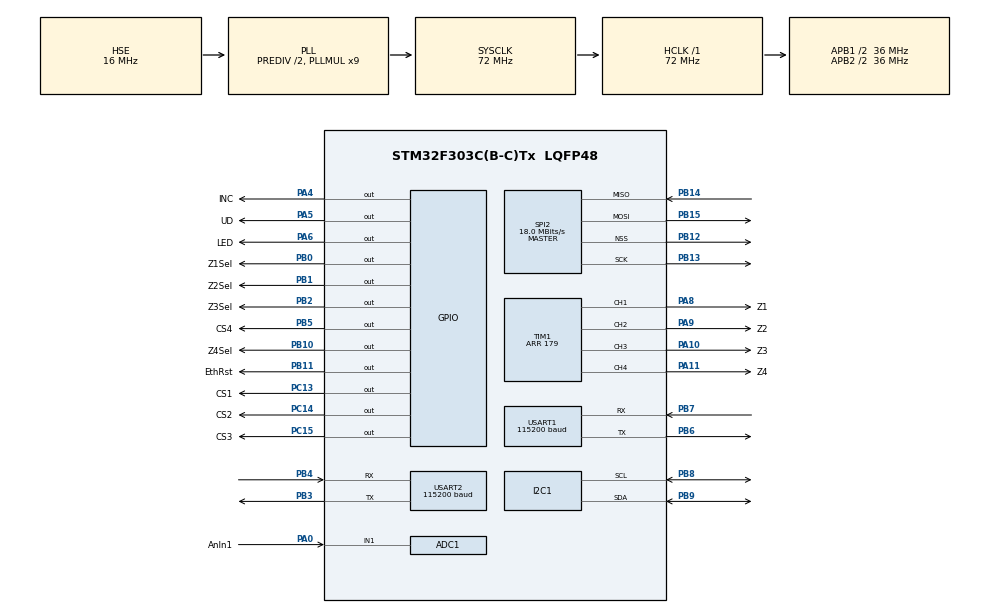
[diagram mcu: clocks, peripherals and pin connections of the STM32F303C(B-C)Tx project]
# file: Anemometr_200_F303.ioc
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Mcu.Family=STM32F3
SPI2.VirtualNSS=VM_NSSHARD
SH.S_TIM1_CH4.0=TIM1_CH4,Output Compare4 CH4
VP_TIM1_VS_OPM.Mode=OPM_bit
RCC.CortexFreq_Value=72000000
SPI2.VirtualType=VM_MASTER
ADC1.ContinuousConvMode=ENABLE
TIM1.RepetitionCounter=13
VP_TIM3_VS_OPM.Mode=OPM_bit
USART1.BaudRate=115200
RCC.SYSCLKSourceVirtual=RCC_SYSCLKSOURCE_PLLCLK
PA0.GPIO_Label=AnIn1
PB0.GPIO_Label=Z1Sel
PA6.GPIO_Label=LED
PC13.GPIO_Label=CS1
PB11.Signal=GPIO_Output
PB13.Signal=SPI2_SCK
PB15.Signal=SPI2_MOSI
PC15-OSC32_OUT.GPIO_Label=CS3
ProjectManager.StackSize=0x400
TIM1.Channel-Output\ Compare2\ CH2=TIM_CHANNEL_2
RCC.HCLKFreq_Value=72000000
ADC1.Offset-1\#ChannelRegularConversion=0
RCC.APB2TimFreq_Value=72000000
TIM3.Period=39000
PB6.Signal=USART1_TX
Dma.ADC1.0.Direction=DMA_PERIPH_TO_MEMORY
PB6.Mode=Asynchronous
Dma.ADC1.0.MemDataAlignment=DMA_MDATAALIGN_HALFWORD
RCC.AHBFreq_Value=72000000
SPI2.BaudRatePrescaler=SPI_BAUDRATEPRESCALER_2
RCC.HSE_VALUE=16000000
PB2.Signal=GPIO_Output
PB3.Mode=Asynchronous
USART2.VirtualMode-Asynchronous=VM_ASYNC
RCC.RCC_PLLsource_Clock_Source_FROM_HSE=RCC_HSE_PREDIV_DIV2
RCC.PLLMUL=RCC_PLL_MUL9
ADC1.SequencerNbRanks=0
PB4.Mode=Asynchronous
PB14.Mode=Full_Duplex_Master
PB1.GPIO_Label=Z2Sel
Dma.ADC1.0.PeriphInc=DMA_PINC_DISABLE
PA10.GPIO_Label=Z3
PA0.Mode=IN1-Single-Ended
SPI2.CalculateBaudRate=18.0 MBits/s
PB7.Signal=USART1_RX
PA8.Signal=S_TIM1_CH1
VP_TIM3_VS_ClockSourceITR.Mode=TriggerSource_ITR0
PA0.Signal=ADC1_IN1
Mcu.Package=LQFP48
PB9.Signal=I2C1_SDA
PB1.Signal=GPIO_Output
PA6.Signal=GPIO_Output
PB12.Mode=NSS_Signal_Hard_Output
SPI2.Mode=SPI_MODE_MASTER
PA10.Signal=S_TIM1_CH3
ADC1.OffsetNumber-1\#ChannelRegularConversion=ADC_OFFSET_NONE
RCC.APB2CLKDivider=RCC_HCLK_DIV2
PB5.GPIO_Label=CS4
RCC.APB1TimFreq_Value=72000000
PC14-OSC32_IN.GPIO_Label=CS2
SPI2.Direction=SPI_DIRECTION_2LINES
TIM1.Period=179
PB13.Mode=Full_Duplex_Master
PF1-OSC_OUT.Mode=HSE-External-Oscillator
Dma.Request0=ADC1
PA4.GPIO_Label=INC
ADC1.EOCSelection=ADC_EOC_SINGLE_CONV
VP_TIM3_VS_ClockSourceINT.Mode=Internal
PF1-OSC_OUT.Signal=RCC_OSC_OUT
TIM1.Channel-Output\ Compare3\ CH3=TIM_CHANNEL_3
PB4.Signal=USART2_RX
RCC.PLLSourceVirtual=RCC_PLLSOURCE_HSE
Dma.ADC1.0.Instance=DMA1_Channel1
TIM3.Channel-Output\ Compare1\ No\ Output=TIM_CHANNEL_1
TIM3.AutoReloadPreload=TIM_AUTORELOAD_PRELOAD_ENABLE
TIM1.OCMode_4=TIM_OCMODE_TOGGLE
TIM1.OCMode_3=TIM_OCMODE_TOGGLE
VP_TIM3_VS_ControllerModeTrigger.Mode=Trigger Mode
PC13.Signal=GPIO_Output
PA9.GPIO_Label=Z2
TIM1.OCMode_2=TIM_OCMODE_TOGGLE
TIM1.OCMode_1=TIM_OCMODE_TOGGLE
PB11.GPIO_Label=EthRst
PA11.GPIO_Label=Z4
RCC.APB1CLKDivider=RCC_HCLK_DIV2
PC14-OSC32_IN.Signal=GPIO_Output
USART2.BaudRate=115200
USART1.VirtualMode-Asynchronous=VM_ASYNC
Dma.ADC1.0.PeriphDataAlignment=DMA_PDATAALIGN_HALFWORD
PA8.GPIO_Label=Z1
SH.S_TIM1_CH1.0=TIM1_CH1,Output Compare1 CH1
ProjectManager.TargetToolchain=STM32CubeIDE
PB10.GPIO_Label=Z4Sel
Dma.ADC1.0.Mode=DMA_NORMAL
PB9.Mode=I2C
Dma.ADC1.0.Priority=DMA_PRIORITY_HIGH
PA9.Signal=S_TIM1_CH2
ADC1.Channel-1\#ChannelRegularConversion=ADC_CHANNEL_1
RCC.USBFreq_Value=72000000
TIM1.Channel-Output\ Compare4\ CH4=TIM_CHANNEL_4
TIM4.Prescaler=6
RCC.LSE_VALUE=32768
PC15-OSC32_OUT.Signal=GPIO_Output
PF0-OSC_IN.Mode=HSE-External-Oscillator
PB10.Signal=GPIO_Output
TIM3.OC1Preload=ENABLE
PB14.Signal=SPI2_MISO
PA5.Signal=GPIO_Output
board=custom
VP_TIM3_VS_no_output1.Mode=Output Compare1 No Output
PB15.Mode=Full_Duplex_Master
NVIC.TIM3_IRQn=true\:0\:0\:false\:false\:true\:true\:true
TIM1.TIM_MasterOutputTrigger=TIM_TRGO_UPDATE
RCC.APB2Freq_Value=36000000
TIM3.OCMode_1=TIM_OCMODE_ACTIVE
SH.S_TIM1_CH2.0=TIM1_CH2,Output Compare2 CH2
ADC1.DMAContinuousRequests=ENABLE
ADC1.NbrOfConversion=1
Mcu.Name=STM32F303C(B-C)Tx
ADC1.ExternalTrigConv=ADC_EXTERNALTRIGCONV_T3_TRGO
PB3.Signal=USART2_TX
PA4.Signal=GPIO_Output
ADC1.SamplingTime-1\#ChannelRegularConversion=ADC_SAMPLETIME_19CYCLES_5
RCC.SYSCLKFreq_VALUE=72000000
PB5.Signal=GPIO_Output
ADC1.master=1
PA5.GPIO_Label=UD
ADC1.Rank-1\#ChannelRegularConversion=1
PB7.Mode=Asynchronous
PA11.Signal=S_TIM1_CH4
Dma.ADC1.0.MemInc=DMA_MINC_ENABLE
PB2.GPIO_Label=Z3Sel
ProjectManager.HeapSize=0x200
TIM1.Channel-Output\ Compare1\ CH1=TIM_CHANNEL_1
SH.S_TIM1_CH3.0=TIM1_CH3,Output Compare3 CH3
RCC.HSI_VALUE=8000000
VP_TIM4_VS_ClockSourceINT.Mode=Internal
NVIC.PriorityGroup=NVIC_PRIORITYGROUP_4
ADC1.NbrOfConversionFlag=1
PB8.Mode=I2C
PB8.Signal=I2C1_SCL
NVIC.DMA1_Channel1_IRQn=true\:0\:0\:false\:false\:true\:false\:true
PF0-OSC_IN.Signal=RCC_OSC_IN
TIM3.TIM_MasterOutputTrigger=TIM_TRGO_UPDATE
NVIC.TIM4_IRQn=true\:0\:0\:false\:false\:true\:true\:true
RCC.APB1Freq_Value=36000000
PB0.Signal=GPIO_Output
ADC1.ClockPrescaler=ADC_CLOCK_ASYNC_DIV1
PB12.Signal=SPI2_NSS

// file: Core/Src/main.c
/* USER CODE BEGIN Header */
/**
  ******************************************************************************
  * @file           : main.c
  * @brief          : Main program body
  ******************************************************************************
  * @attention
  *
  * <h2><center>&copy; Copyright (c) 2023 STMicroelectronics.
  * All rights reserved.</center></h2>
  *
  * This software component is licensed by ST under BSD 3-Clause license,
  * the "License"; You may not use this file except in compliance with the
  * License. You may obtain a copy of the License at:
  *                        opensource.org/licenses/BSD-3-Clause
  *
  ******************************************************************************
  */
/* USER CODE END Header */
#include "main.h"

ADC_HandleTypeDef hadc1;
DMA_HandleTypeDef hdma_adc1;

I2C_HandleTypeDef hi2c1;

SPI_HandleTypeDef hspi2;

TIM_HandleTypeDef htim1;
TIM_HandleTypeDef htim3;
TIM_HandleTypeDef htim4;

UART_HandleTypeDef huart1;
UART_HandleTypeDef huart2;

void SystemClock_Config(void);
static void MX_GPIO_Init(void);
static void MX_DMA_Init(void);
static void MX_TIM1_Init(void);
static void MX_ADC1_Init(void);
static void MX_I2C1_Init(void);
static void MX_SPI2_Init(void);
static void MX_USART1_UART_Init(void);
static void MX_USART2_UART_Init(void);
static void MX_TIM4_Init(void);
static void MX_TIM3_Init(void);

/* USER CODE BEGIN 0 */
void levelUp(uint8_t channel, uint8_t lev, bool updn) {
	//LED_PULSE
	/* Начальный уровень -- высокий, переключение выполняется переходом в низкий уровень */
	HAL_GPIO_WritePin(INC_GPIO_Port, INC_Pin, GPIO_PIN_SET);
	/* Отключим выбор всех регуляторов */
	HAL_GPIO_WritePin(CS1_GPIO_Port, CS1_Pin, GPIO_PIN_SET);
	HAL_GPIO_WritePin(CS2_GPIO_Port, CS2_Pin, GPIO_PIN_SET);
	HAL_GPIO_WritePin(CS3_GPIO_Port, CS3_Pin, GPIO_PIN_SET);
	HAL_GPIO_WritePin(CS4_GPIO_Port, CS4_Pin, GPIO_PIN_SET);
	/* Режим повышения уровня сигнала */
	if (updn) {
		HAL_GPIO_WritePin(UD_GPIO_Port, UD_Pin, GPIO_PIN_SET);
	} else {
		HAL_GPIO_WritePin(UD_GPIO_Port, UD_Pin, GPIO_PIN_RESET);
	}
	switch(channel) {
		case 0: {
			HAL_GPIO_WritePin(CS1_GPIO_Port, CS1_Pin, GPIO_PIN_RESET);
			break;
		}
		case 1: {
			HAL_GPIO_WritePin(CS2_GPIO_Port, CS2_Pin, GPIO_PIN_RESET);
			break;
		}
		case 2: {
			HAL_GPIO_WritePin(CS3_GPIO_Port, CS3_Pin, GPIO_PIN_RESET);
			break;
		}
		case 3: {
			HAL_GPIO_WritePin(CS4_GPIO_Port, CS4_Pin, GPIO_PIN_RESET);
			break;
		}
		default: {
			return;
		}
	}
	for (int iii = 0; iii < lev; iii++) {
		HAL_GPIO_WritePin(INC_GPIO_Port, INC_Pin, GPIO_PIN_RESET);
		HAL_GPIO_WritePin(INC_GPIO_Port, INC_Pin, GPIO_PIN_SET);
	}
	HAL_GPIO_WritePin(INC_GPIO_Port, INC_Pin, GPIO_PIN_RESET);
}
/* USER CODE END 0 */

int main(void)
{

  /* MCU Configuration--------------------------------------------------------*/

  /* Reset of all peripherals, Initializes the Flash interface and the Systick. */
  HAL_Init();

  /* Configure the system clock */
  SystemClock_Config();

  /* Initialize all configured peripherals */
  MX_GPIO_Init();
  MX_DMA_Init();
  MX_TIM1_Init();
  MX_ADC1_Init();
  MX_I2C1_Init();
  MX_SPI2_Init();
  MX_USART1_UART_Init();
  MX_USART2_UART_Init();
  MX_TIM4_Init();
  MX_TIM3_Init();

  /* Infinite loop */
  /* USER CODE BEGIN WHILE */
  char SndBuffer[200];
  for (int iii = 0; iii < CONVERSION_COUNT; iii++) {
	  adcBuffer[iii] = 0;
  }
  HAL_GPIO_WritePin(Z1Sel_GPIO_Port, Z1Sel_Pin, GPIO_PIN_SET);
  HAL_GPIO_WritePin(Z2Sel_GPIO_Port, Z2Sel_Pin, GPIO_PIN_SET);
  HAL_GPIO_WritePin(Z3Sel_GPIO_Port, Z3Sel_Pin, GPIO_PIN_SET);
  HAL_GPIO_WritePin(Z4Sel_GPIO_Port, Z4Sel_Pin, GPIO_PIN_SET);
  HAL_TIM_Base_Start_IT(&htim4);
  HAL_TIM_Base_Start_IT(&htim3);
  HAL_ADCEx_Calibration_Start(&hadc1, ADC_SINGLE_ENDED);
  HAL_ADC_Start_DMA(&hadc1, (uint32_t*) adcBuffer, CONVERSION_COUNT);

  HAL_UART_Transmit(&huart1, (uint8_t *) START_TEXT, sizeof(START_TEXT), 1000);

  while (1)
  {
	  //HAL_GPIO_TogglePin(LED_GPIO_Port, LED_Pin);

	  /*
	  sprintf(SndBuffer, "ADC: %u %u %u %u %u %u %u %u %u %u %u %u %u %u %u %u %u %u %u %u \r",
			  adcBuffer[SHOW_DATA+0], adcBuffer[SHOW_DATA+1], adcBuffer[SHOW_DATA+2], adcBuffer[SHOW_DATA+3], adcBuffer[SHOW_DATA+4],
			  adcBuffer[SHOW_DATA+5], adcBuffer[SHOW_DATA+6], adcBuffer[SHOW_DATA+7], adcBuffer[SHOW_DATA+8], adcBuffer[SHOW_DATA+9],
			  adcBuffer[SHOW_DATA+10], adcBuffer[SHOW_DATA+11], adcBuffer[SHOW_DATA+12], adcBuffer[SHOW_DATA+13], adcBuffer[SHOW_DATA+14],
			  adcBuffer[SHOW_DATA+15], adcBuffer[SHOW_DATA+16], adcBuffer[SHOW_DATA+17], adcBuffer[SHOW_DATA+18], adcBuffer[SHOW_DATA+19]);
			  */
	  if (readyData) {
		  uint16_t cnt = 0;
		  for (int i = 0; i < CONVERSION_COUNT; i++) {
			  if (adcBuffer[i] == 0) {
				  cnt++;
			  }
			  adcBuffer[i] = 0;
		  }
		  memset(SndBuffer, 0, sizeof(SndBuffer));
		  sprintf(SndBuffer, "MAX: %u, MIN: %u, CNT: %u\r", maxLevel, minLevel, cnt);
	  	  HAL_UART_Transmit(&huart1, (uint8_t *) SndBuffer, sizeof(SndBuffer), 1000);
	  	  readyData = false;
	  }
	  //HAL_Delay(100);
	  /*
	  if (count++ > 100) {
		  count = 0;
		  ud = ! ud;
	  }
	  levelUp(0, 1, ud);
*/
    /* USER CODE END WHILE */

  }
}

void SystemClock_Config(void)
{
  RCC_OscInitTypeDef RCC_OscInitStruct = {0};
  RCC_ClkInitTypeDef RCC_ClkInitStruct = {0};
  RCC_PeriphCLKInitTypeDef PeriphClkInit = {0};

  /** Initializes the RCC Oscillators according to the specified parameters
  * in the RCC_OscInitTypeDef structure.
  */
  RCC_OscInitStruct.OscillatorType = RCC_OSCILLATORTYPE_HSI|RCC_OSCILLATORTYPE_HSE;
  RCC_OscInitStruct.HSEState = RCC_HSE_ON;
  RCC_OscInitStruct.HSEPredivValue = RCC_HSE_PREDIV_DIV2;
  RCC_OscInitStruct.HSIState = RCC_HSI_ON;
  RCC_OscInitStruct.HSICalibrationValue = RCC_HSICALIBRATION_DEFAULT;
  RCC_OscInitStruct.PLL.PLLState = RCC_PLL_ON;
  RCC_OscInitStruct.PLL.PLLSource = RCC_PLLSOURCE_HSE;
  RCC_OscInitStruct.PLL.PLLMUL = RCC_PLL_MUL9;
  if (HAL_RCC_OscConfig(&RCC_OscInitStruct) != HAL_OK)
  {
    Error_Handler();
  }
  /** Initializes the CPU, AHB and APB buses clocks
  */
  RCC_ClkInitStruct.ClockType = RCC_CLOCKTYPE_HCLK|RCC_CLOCKTYPE_SYSCLK
                              |RCC_CLOCKTYPE_PCLK1|RCC_CLOCKTYPE_PCLK2;
  RCC_ClkInitStruct.SYSCLKSource = RCC_SYSCLKSOURCE_PLLCLK;
  RCC_ClkInitStruct.AHBCLKDivider = RCC_SYSCLK_DIV1;
  RCC_ClkInitStruct.APB1CLKDivider = RCC_HCLK_DIV2;
  RCC_ClkInitStruct.APB2CLKDivider = RCC_HCLK_DIV2;

  if (HAL_RCC_ClockConfig(&RCC_ClkInitStruct, FLASH_LATENCY_2) != HAL_OK)
  {
    Error_Handler();
  }
  PeriphClkInit.PeriphClockSelection = RCC_PERIPHCLK_USART1|RCC_PERIPHCLK_USART2
                              |RCC_PERIPHCLK_I2C1|RCC_PERIPHCLK_TIM1
                              |RCC_PERIPHCLK_ADC12;
  PeriphClkInit.Usart1ClockSelection = RCC_USART1CLKSOURCE_PCLK2;
  PeriphClkInit.Usart2ClockSelection = RCC_USART2CLKSOURCE_PCLK1;
  PeriphClkInit.Adc12ClockSelection = RCC_ADC12PLLCLK_DIV1;
  PeriphClkInit.I2c1ClockSelection = RCC_I2C1CLKSOURCE_HSI;
  PeriphClkInit.Tim1ClockSelection = RCC_TIM1CLK_HCLK;
  if (HAL_RCCEx_PeriphCLKConfig(&PeriphClkInit) != HAL_OK)
  {
    Error_Handler();
  }
}

static void MX_ADC1_Init(void)
{

  ADC_MultiModeTypeDef multimode = {0};
  ADC_ChannelConfTypeDef sConfig = {0};

  /** Common config
  */
  hadc1.Instance = ADC1;
  hadc1.Init.ClockPrescaler = ADC_CLOCK_ASYNC_DIV1;
  hadc1.Init.Resolution = ADC_RESOLUTION_12B;
  hadc1.Init.ScanConvMode = ADC_SCAN_DISABLE;
  hadc1.Init.ContinuousConvMode = ENABLE;
  hadc1.Init.DiscontinuousConvMode = DISABLE;
  hadc1.Init.ExternalTrigConvEdge = ADC_EXTERNALTRIGCONVEDGE_RISING;
  hadc1.Init.ExternalTrigConv = ADC_EXTERNALTRIGCONV_T3_TRGO;
  hadc1.Init.DataAlign = ADC_DATAALIGN_RIGHT;
  hadc1.Init.NbrOfConversion = 1;
  hadc1.Init.DMAContinuousRequests = ENABLE;
  hadc1.Init.EOCSelection = ADC_EOC_SINGLE_CONV;
  hadc1.Init.LowPowerAutoWait = DISABLE;
  hadc1.Init.Overrun = ADC_OVR_DATA_OVERWRITTEN;
  if (HAL_ADC_Init(&hadc1) != HAL_OK)
  {
    Error_Handler();
  }
  /** Configure the ADC multi-mode
  */
  multimode.Mode = ADC_MODE_INDEPENDENT;
  if (HAL_ADCEx_MultiModeConfigChannel(&hadc1, &multimode) != HAL_OK)
  {
    Error_Handler();
  }
  /** Configure Regular Channel
  */
  sConfig.Channel = ADC_CHANNEL_1;
  sConfig.Rank = ADC_REGULAR_RANK_1;
  sConfig.SingleDiff = ADC_SINGLE_ENDED;
  sConfig.SamplingTime = ADC_SAMPLETIME_19CYCLES_5;
  sConfig.OffsetNumber = ADC_OFFSET_NONE;
  sConfig.Offset = 0;
  if (HAL_ADC_ConfigChannel(&hadc1, &sConfig) != HAL_OK)
  {
    Error_Handler();
  }

}

static void MX_I2C1_Init(void)
{

  hi2c1.Instance = I2C1;
  hi2c1.Init.Timing = 0x2000090E;
  hi2c1.Init.OwnAddress1 = 0;
  hi2c1.Init.AddressingMode = I2C_ADDRESSINGMODE_7BIT;
  hi2c1.Init.DualAddressMode = I2C_DUALADDRESS_DISABLE;
  hi2c1.Init.OwnAddress2 = 0;
  hi2c1.Init.OwnAddress2Masks = I2C_OA2_NOMASK;
  hi2c1.Init.GeneralCallMode = I2C_GENERALCALL_DISABLE;
  hi2c1.Init.NoStretchMode = I2C_NOSTRETCH_DISABLE;
  if (HAL_I2C_Init(&hi2c1) != HAL_OK)
  {
    Error_Handler();
  }
  /** Configure Analogue filter
  */
  if (HAL_I2CEx_ConfigAnalogFilter(&hi2c1, I2C_ANALOGFILTER_ENABLE) != HAL_OK)
  {
    Error_Handler();
  }
  /** Configure Digital filter
  */
  if (HAL_I2CEx_ConfigDigitalFilter(&hi2c1, 0) != HAL_OK)
  {
    Error_Handler();
  }

}

static void MX_SPI2_Init(void)
{

  /* SPI2 parameter configuration*/
  hspi2.Instance = SPI2;
  hspi2.Init.Mode = SPI_MODE_MASTER;
  hspi2.Init.Direction = SPI_DIRECTION_2LINES;
  hspi2.Init.DataSize = SPI_DATASIZE_4BIT;
  hspi2.Init.CLKPolarity = SPI_POLARITY_LOW;
  hspi2.Init.CLKPhase = SPI_PHASE_1EDGE;
  hspi2.Init.NSS = SPI_NSS_HARD_OUTPUT;
  hspi2.Init.BaudRatePrescaler = SPI_BAUDRATEPRESCALER_2;
  hspi2.Init.FirstBit = SPI_FIRSTBIT_MSB;
  hspi2.Init.TIMode = SPI_TIMODE_DISABLE;
  hspi2.Init.CRCCalculation = SPI_CRCCALCULATION_DISABLE;
  hspi2.Init.CRCPolynomial = 7;
  hspi2.Init.CRCLength = SPI_CRC_LENGTH_DATASIZE;
  hspi2.Init.NSSPMode = SPI_NSS_PULSE_ENABLE;
  if (HAL_SPI_Init(&hspi2) != HAL_OK)
  {
    Error_Handler();
  }

}

static void MX_TIM1_Init(void)
{

  TIM_MasterConfigTypeDef sMasterConfig = {0};
  TIM_OC_InitTypeDef sConfigOC = {0};
  TIM_BreakDeadTimeConfigTypeDef sBreakDeadTimeConfig = {0};

  htim1.Instance = TIM1;
  htim1.Init.Prescaler = 0;
  htim1.Init.CounterMode = TIM_COUNTERMODE_UP;
  htim1.Init.Period = 179;
  htim1.Init.ClockDivision = TIM_CLOCKDIVISION_DIV1;
  htim1.Init.RepetitionCounter = 13;
  htim1.Init.AutoReloadPreload = TIM_AUTORELOAD_PRELOAD_DISABLE;
  if (HAL_TIM_OC_Init(&htim1) != HAL_OK)
  {
    Error_Handler();
  }
  if (HAL_TIM_OnePulse_Init(&htim1, TIM_OPMODE_SINGLE) != HAL_OK)
  {
    Error_Handler();
  }
  sMasterConfig.MasterOutputTrigger = TIM_TRGO_UPDATE;
  sMasterConfig.MasterOutputTrigger2 = TIM_TRGO2_RESET;
  sMasterConfig.MasterSlaveMode = TIM_MASTERSLAVEMODE_DISABLE;
  if (HAL_TIMEx_MasterConfigSynchronization(&htim1, &sMasterConfig) != HAL_OK)
  {
    Error_Handler();
  }
  sConfigOC.OCMode = TIM_OCMODE_TOGGLE;
  sConfigOC.Pulse = 0;
  sConfigOC.OCPolarity = TIM_OCPOLARITY_HIGH;
  sConfigOC.OCNPolarity = TIM_OCNPOLARITY_HIGH;
  sConfigOC.OCFastMode = TIM_OCFAST_DISABLE;
  sConfigOC.OCIdleState = TIM_OCIDLESTATE_RESET;
  sConfigOC.OCNIdleState = TIM_OCNIDLESTATE_RESET;
  if (HAL_TIM_OC_ConfigChannel(&htim1, &sConfigOC, TIM_CHANNEL_1) != HAL_OK)
  {
    Error_Handler();
  }
  if (HAL_TIM_OC_ConfigChannel(&htim1, &sConfigOC, TIM_CHANNEL_2) != HAL_OK)
  {
    Error_Handler();
  }
  if (HAL_TIM_OC_ConfigChannel(&htim1, &sConfigOC, TIM_CHANNEL_3) != HAL_OK)
  {
    Error_Handler();
  }
  if (HAL_TIM_OC_ConfigChannel(&htim1, &sConfigOC, TIM_CHANNEL_4) != HAL_OK)
  {
    Error_Handler();
  }
  sBreakDeadTimeConfig.OffStateRunMode = TIM_OSSR_DISABLE;
  sBreakDeadTimeConfig.OffStateIDLEMode = TIM_OSSI_DISABLE;
  sBreakDeadTimeConfig.LockLevel = TIM_LOCKLEVEL_OFF;
  sBreakDeadTimeConfig.DeadTime = 0;
  sBreakDeadTimeConfig.BreakState = TIM_BREAK_DISABLE;
  sBreakDeadTimeConfig.BreakPolarity = TIM_BREAKPOLARITY_HIGH;
  sBreakDeadTimeConfig.BreakFilter = 0;
  sBreakDeadTimeConfig.Break2State = TIM_BREAK2_DISABLE;
  sBreakDeadTimeConfig.Break2Polarity = TIM_BREAK2POLARITY_HIGH;
  sBreakDeadTimeConfig.Break2Filter = 0;
  sBreakDeadTimeConfig.AutomaticOutput = TIM_AUTOMATICOUTPUT_DISABLE;
  if (HAL_TIMEx_ConfigBreakDeadTime(&htim1, &sBreakDeadTimeConfig) != HAL_OK)
  {
    Error_Handler();
  }
  HAL_TIM_MspPostInit(&htim1);

}

static void MX_TIM3_Init(void)
{

  TIM_ClockConfigTypeDef sClockSourceConfig = {0};
  TIM_SlaveConfigTypeDef sSlaveConfig = {0};
  TIM_MasterConfigTypeDef sMasterConfig = {0};
  TIM_OC_InitTypeDef sConfigOC = {0};

  htim3.Instance = TIM3;
  htim3.Init.Prescaler = 0;
  htim3.Init.CounterMode = TIM_COUNTERMODE_UP;
  htim3.Init.Period = 39000;
  htim3.Init.ClockDivision = TIM_CLOCKDIVISION_DIV1;
  htim3.Init.AutoReloadPreload = TIM_AUTORELOAD_PRELOAD_ENABLE;
  if (HAL_TIM_Base_Init(&htim3) != HAL_OK)
  {
    Error_Handler();
  }
  sClockSourceConfig.ClockSource = TIM_CLOCKSOURCE_INTERNAL;
  if (HAL_TIM_ConfigClockSource(&htim3, &sClockSourceConfig) != HAL_OK)
  {
    Error_Handler();
  }
  if (HAL_TIM_OC_Init(&htim3) != HAL_OK)
  {
    Error_Handler();
  }
  if (HAL_TIM_OnePulse_Init(&htim3, TIM_OPMODE_SINGLE) != HAL_OK)
  {
    Error_Handler();
  }
  sSlaveConfig.SlaveMode = TIM_SLAVEMODE_TRIGGER;
  sSlaveConfig.InputTrigger = TIM_TS_ITR0;
  if (HAL_TIM_SlaveConfigSynchro(&htim3, &sSlaveConfig) != HAL_OK)
  {
    Error_Handler();
  }
  sMasterConfig.MasterOutputTrigger = TIM_TRGO_UPDATE;
  sMasterConfig.MasterSlaveMode = TIM_MASTERSLAVEMODE_DISABLE;
  if (HAL_TIMEx_MasterConfigSynchronization(&htim3, &sMasterConfig) != HAL_OK)
  {
    Error_Handler();
  }
  sConfigOC.OCMode = TIM_OCMODE_ACTIVE;
  sConfigOC.Pulse = 0;
  sConfigOC.OCPolarity = TIM_OCPOLARITY_HIGH;
  sConfigOC.OCFastMode = TIM_OCFAST_DISABLE;
  if (HAL_TIM_OC_ConfigChannel(&htim3, &sConfigOC, TIM_CHANNEL_1) != HAL_OK)
  {
    Error_Handler();
  }
  __HAL_TIM_ENABLE_OCxPRELOAD(&htim3, TIM_CHANNEL_1);

}

static void MX_TIM4_Init(void)
{

  TIM_ClockConfigTypeDef sClockSourceConfig = {0};
  TIM_MasterConfigTypeDef sMasterConfig = {0};

  htim4.Instance = TIM4;
  htim4.Init.Prescaler = 6;
  htim4.Init.CounterMode = TIM_COUNTERMODE_UP;
  htim4.Init.Period = 65535;
  htim4.Init.ClockDivision = TIM_CLOCKDIVISION_DIV1;
  htim4.Init.AutoReloadPreload = TIM_AUTORELOAD_PRELOAD_DISABLE;
  if (HAL_TIM_Base_Init(&htim4) != HAL_OK)
  {
    Error_Handler();
  }
  sClockSourceConfig.ClockSource = TIM_CLOCKSOURCE_INTERNAL;
  if (HAL_TIM_ConfigClockSource(&htim4, &sClockSourceConfig) != HAL_OK)
  {
    Error_Handler();
  }
  sMasterConfig.MasterOutputTrigger = TIM_TRGO_RESET;
  sMasterConfig.MasterSlaveMode = TIM_MASTERSLAVEMODE_DISABLE;
  if (HAL_TIMEx_MasterConfigSynchronization(&htim4, &sMasterConfig) != HAL_OK)
  {
    Error_Handler();
  }

}

static void MX_USART1_UART_Init(void)
{

  huart1.Instance = USART1;
  huart1.Init.BaudRate = 115200;
  huart1.Init.WordLength = UART_WORDLENGTH_8B;
  huart1.Init.StopBits = UART_STOPBITS_1;
  huart1.Init.Parity = UART_PARITY_NONE;
  huart1.Init.Mode = UART_MODE_TX_RX;
  huart1.Init.HwFlowCtl = UART_HWCONTROL_NONE;
  huart1.Init.OverSampling = UART_OVERSAMPLING_16;
  huart1.Init.OneBitSampling = UART_ONE_BIT_SAMPLE_DISABLE;
  huart1.AdvancedInit.AdvFeatureInit = UART_ADVFEATURE_NO_INIT;
  if (HAL_UART_Init(&huart1) != HAL_OK)
  {
    Error_Handler();
  }

}

static void MX_USART2_UART_Init(void)
{

  huart2.Instance = USART2;
  huart2.Init.BaudRate = 115200;
  huart2.Init.WordLength = UART_WORDLENGTH_8B;
  huart2.Init.StopBits = UART_STOPBITS_1;
  huart2.Init.Parity = UART_PARITY_NONE;
  huart2.Init.Mode = UART_MODE_TX_RX;
  huart2.Init.HwFlowCtl = UART_HWCONTROL_NONE;
  huart2.Init.OverSampling = UART_OVERSAMPLING_16;
  huart2.Init.OneBitSampling = UART_ONE_BIT_SAMPLE_DISABLE;
  huart2.AdvancedInit.AdvFeatureInit = UART_ADVFEATURE_NO_INIT;
  if (HAL_UART_Init(&huart2) != HAL_OK)
  {
    Error_Handler();
  }

}

static void MX_DMA_Init(void)
{

  /* DMA controller clock enable */
  __HAL_RCC_DMA1_CLK_ENABLE();

  /* DMA interrupt init */
  /* DMA1_Channel1_IRQn interrupt configuration */
  HAL_NVIC_SetPriority(DMA1_Channel1_IRQn, 0, 0);
  HAL_NVIC_EnableIRQ(DMA1_Channel1_IRQn);

}

static void MX_GPIO_Init(void)
{
  GPIO_InitTypeDef GPIO_InitStruct = {0};

  /* GPIO Ports Clock Enable */
  __HAL_RCC_GPIOC_CLK_ENABLE();
  __HAL_RCC_GPIOF_CLK_ENABLE();
  __HAL_RCC_GPIOA_CLK_ENABLE();
  __HAL_RCC_GPIOB_CLK_ENABLE();

  /*Configure GPIO pin Output Level */
  HAL_GPIO_WritePin(GPIOC, CS1_Pin|CS2_Pin|CS3_Pin, GPIO_PIN_RESET);

  /*Configure GPIO pin Output Level */
  HAL_GPIO_WritePin(GPIOA, INC_Pin|UD_Pin|LED_Pin, GPIO_PIN_RESET);

  /*Configure GPIO pin Output Level */
  HAL_GPIO_WritePin(GPIOB, Z1Sel_Pin|Z2Sel_Pin|Z3Sel_Pin|Z4Sel_Pin
                          |EthRst_Pin|CS4_Pin, GPIO_PIN_RESET);

  /*Configure GPIO pins : CS1_Pin CS2_Pin CS3_Pin */
  GPIO_InitStruct.Pin = CS1_Pin|CS2_Pin|CS3_Pin;
  GPIO_InitStruct.Mode = GPIO_MODE_OUTPUT_PP;
  GPIO_InitStruct.Pull = GPIO_NOPULL;
  GPIO_InitStruct.Speed = GPIO_SPEED_FREQ_LOW;
  HAL_GPIO_Init(GPIOC, &GPIO_InitStruct);

  /*Configure GPIO pins : INC_Pin UD_Pin LED_Pin */
  GPIO_InitStruct.Pin = INC_Pin|UD_Pin|LED_Pin;
  GPIO_InitStruct.Mode = GPIO_MODE_OUTPUT_PP;
  GPIO_InitStruct.Pull = GPIO_NOPULL;
  GPIO_InitStruct.Speed = GPIO_SPEED_FREQ_LOW;
  HAL_GPIO_Init(GPIOA, &GPIO_InitStruct);

  /*Configure GPIO pins : Z1Sel_Pin Z2Sel_Pin Z3Sel_Pin Z4Sel_Pin
                           EthRst_Pin CS4_Pin */
  GPIO_InitStruct.Pin = Z1Sel_Pin|Z2Sel_Pin|Z3Sel_Pin|Z4Sel_Pin
                          |EthRst_Pin|CS4_Pin;
  GPIO_InitStruct.Mode = GPIO_MODE_OUTPUT_PP;
  GPIO_InitStruct.Pull = GPIO_NOPULL;
  GPIO_InitStruct.Speed = GPIO_SPEED_FREQ_LOW;
  HAL_GPIO_Init(GPIOB, &GPIO_InitStruct);

}

void Error_Handler(void)
{
  __disable_irq();
  while (1)
  {
  }
}

/************************ (C) COPYRIGHT STMicroelectronics *****END OF FILE****/
